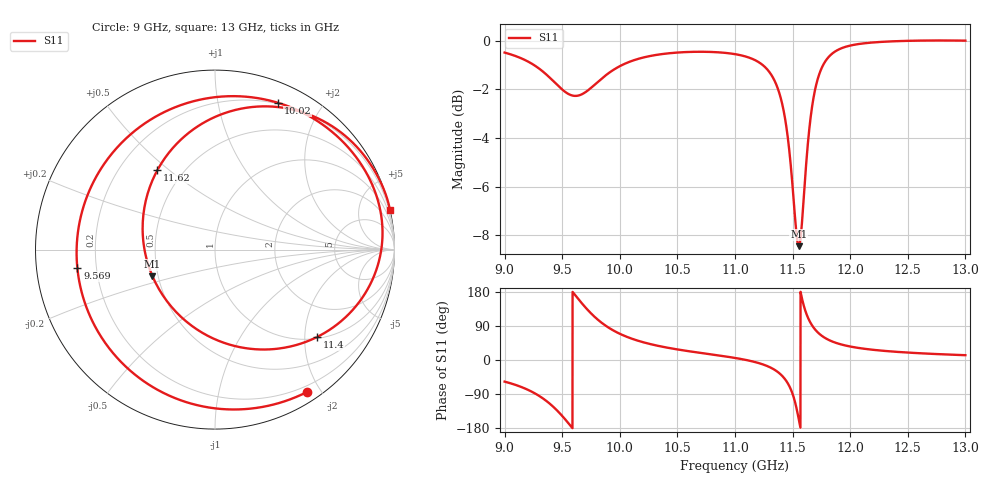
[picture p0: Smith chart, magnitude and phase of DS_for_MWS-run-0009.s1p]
! TOUCHSTONE file generated by CST DESIGN STUDIO
! Date and time: Tue Feb  4 18:32:37 2025
! Project name: C:\Work\MatlabApps\UnitCellOptimizationMatlab\CST\unitcell.cst
! Tree item: Tasks\Sweep1\SPara1\S-Parameters
! Header version: 2024
! Port assignment regex: !\s*Touchstone port\s*([0-9]+)\s*=\s*(CST MWS port|CST DES external port|CST DES block port)\s*(.+)\s* \(\"(.*)\"\)(\s*mode\s*([0-9]+))?.*
! Touchstone port assignment:
! Touchstone port 1 = CST DES external port 1 ("")
# GHz S MA R 50
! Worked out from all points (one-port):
!   4001 points, 9 GHz to 13 GHz, reference 50 ohm
!   lowest |S11| = -8.4 dB at 11.55 GHz (marker M1), VSWR 2.22, Z = 23.3 - j8.04 ohm
!   |S11| at or under -10 dB: nowhere
!   S11 on the Smith chart (normalised r, x): 9 GHz: 0.12, -1.83; 9.569 GHz: 0.13, -0.07; 10.02 GHz: 0.19, +1.50; 11.4 GHz: 1.04, -2.31; 11.62 GHz: 0.36, +0.46; 13 GHz: 0.03, +8.98
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9  0.9446 -57.1
9.161  0.9157 -73.2
9.312  0.8713 -97.1
9.409  0.8317 -119.8
9.5  0.7933 -147.6
9.569  0.7738 -172.4
9.658  0.7734 154.2
9.772  0.8078 116.6
9.871  0.8459 91.9
10  0.8858 69.2
10.017  0.89 66.8
10.223  0.9251 45.2
10.5  0.9447 27.9
11  0.9376 5.4
11.264  0.8805 -14.1
11.343  0.8275 -25.7
11.405  0.7492 -40.5
11.46  0.6278 -62.4
11.5  0.5016 -89.5
11.554  0.3785 -157.0
11.584  0.431 159.0
11.615  0.547 125.9
11.661  0.7089 95.3
11.716  0.8304 73.6
11.831  0.9344 50.5
12  0.9763 35.6
12.5  0.9985 19.6
13  0.9993 12.7
